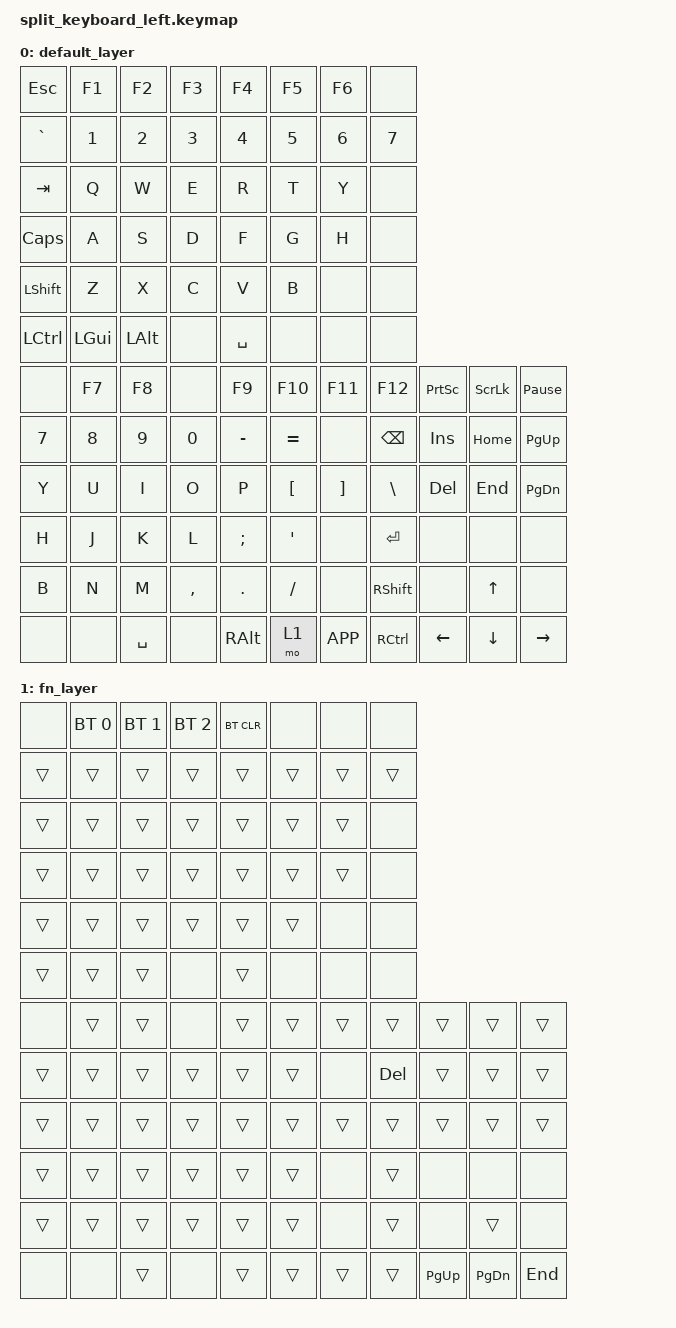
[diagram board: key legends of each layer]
#include <behaviors.dtsi>
#include <dt-bindings/zmk/keys.h>
#include <dt-bindings/zmk/bt.h>

/ {
    keymap {
        compatible = "zmk,keymap";

        /*
         * Default Layer (0)
         * 왼쪽 매트릭스(image_387063.png): 6행 x 8열 (Col 0~7)
         * 오른쪽 매트릭스(image_386d92.png): 6행 x 11열 (Col 8~18)
         */
        default_layer {
            bindings = <
/* ===== 왼쪽 (Central) 6행 × 8열 — 위치 0~47 ===== */
/* Row 0 */ &kp ESC   &kp F1   &kp F2   &kp F3    &kp F4    &kp F5   &kp F6   &none
/* Row 1 */ &kp GRAVE &kp N1   &kp N2   &kp N3    &kp N4    &kp N5   &kp N6   &kp N7
/* Row 2 */ &kp TAB   &kp Q    &kp W    &kp E     &kp R     &kp T    &kp Y    &none
/* Row 3 */ &kp CLCK  &kp A    &kp S    &kp D     &kp F     &kp G    &kp H    &none
/* Row 4 */ &kp LSHFT &kp Z    &kp X    &kp C     &kp V     &kp B    &none    &none
/* Row 5 */ &kp LCTRL &kp LGUI &kp LALT &none     &kp SPACE &none    &none    &none
/* ===== 오른쪽 (Peripheral) 6행 × 11열 — 위치 48~113 ===== */
/* Row 6  */ &none     &kp F7   &kp F8   &none    &kp F9    &kp F10  &kp F11  &kp F12  &kp PSCRN &kp SLCK  &kp PAUSE_BREAK
/* Row 7  */ &kp N7    &kp N8   &kp N9   &kp N0   &kp MINUS &kp EQUAL &none   &kp BSPC &kp INS   &kp HOME  &kp PG_UP
/* Row 8  */ &kp Y     &kp U    &kp I    &kp O    &kp P     &kp LBKT &kp RBKT &kp BSLH &kp DEL   &kp END   &kp PG_DN
/* Row 9  */ &kp H     &kp J    &kp K    &kp L    &kp SEMI  &kp SQT  &none    &kp ENTER &none    &none     &none
/* Row 10 */ &kp B     &kp N    &kp M    &kp COMMA &kp DOT  &kp FSLH &none    &kp RSHFT &none    &kp UP    &none
/* Row 11 */ &none     &none    &kp SPACE &none    &kp RALT  &mo 1    &kp K_APP &kp RCTRL &kp LEFT &kp DOWN &kp RIGHT
            >;
        };

        /*
         * Function Layer (1)
         * 하드웨어 핀 제어 및 특수 기능을 위한 레이어입니다.
         */
        fn_layer {
            bindings = <
/* ===== 왼쪽 (Central) 6행 × 8열 — 위치 0~47 ===== */
/* Row 0 */ &none  &bt BT_SEL 0 &bt BT_SEL 1 &bt BT_SEL 2 &bt BT_CLR &none  &none  &none
/* Row 1 */ &trans &trans       &trans       &trans       &trans     &trans &trans &trans
/* Row 2 */ &trans &trans       &trans       &trans       &trans     &trans &trans &none
/* Row 3 */ &trans &trans       &trans       &trans       &trans     &trans &trans &none
/* Row 4 */ &trans &trans       &trans       &trans       &trans     &trans &none  &none
/* Row 5 */ &trans &trans       &trans       &none        &trans     &none  &none  &none
/* ===== 오른쪽 (Peripheral) 6행 × 11열 — 위치 48~113 ===== */
/* Row 6  */ &none  &trans &trans &none  &trans &trans &trans  &trans    &trans    &trans    &trans
/* Row 7  */ &trans &trans &trans &trans &trans &trans &none   &kp DEL   &trans    &trans    &trans
/* Row 8  */ &trans &trans &trans &trans &trans &trans &trans  &trans    &trans    &trans    &trans
/* Row 9  */ &trans &trans &trans &trans &trans &trans &none   &trans    &none     &none     &none
/* Row 10 */ &trans &trans &trans &trans &trans &trans &none   &trans    &none     &trans    &none
/* Row 11 */ &none  &none  &trans &none  &trans &trans &trans  &trans    &kp PG_UP &kp PG_DN &kp END
            >;
        };
    };
};
